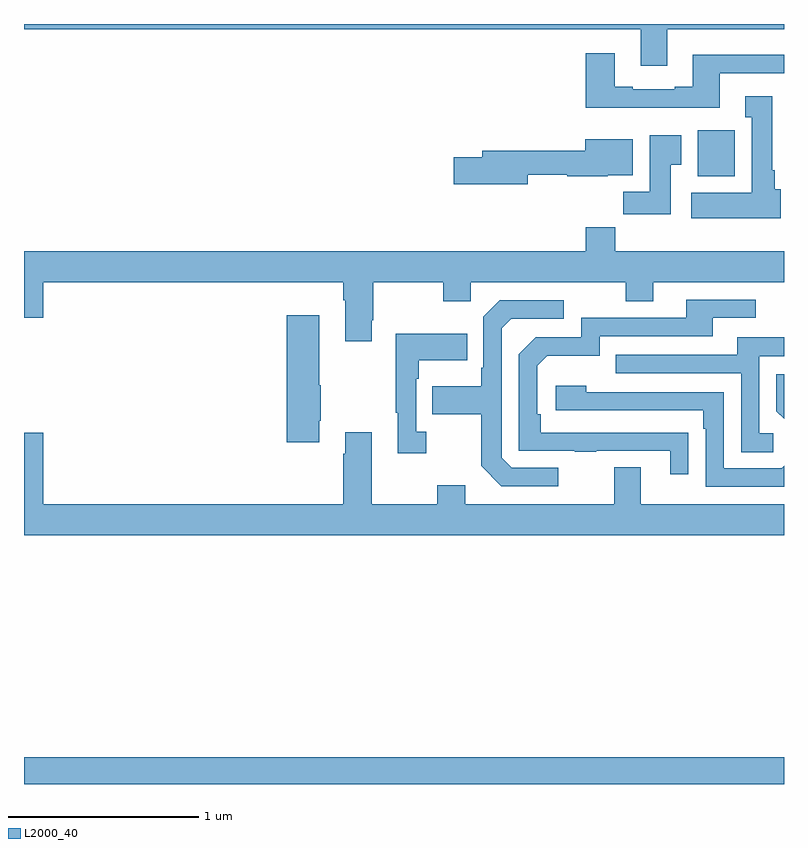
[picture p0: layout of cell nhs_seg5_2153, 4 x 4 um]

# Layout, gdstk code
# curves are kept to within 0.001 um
import gdstk
lib = gdstk.Library(unit=1e-6, precision=1e-09)
def R(c, l, rs):  # rectangles x0, y0, x1, y1
    for r in rs: c.add(gdstk.rectangle(r[:2], r[2:], *l))
def P(c, l, *ps):  # polygons
    for p in ps: c.add(gdstk.Polygon(p, *l))
L2000_40 = (2000, 40)

nhs_seg5_2153 = lib.new_cell('nhs_seg5_2153')
R(nhs_seg5_2153, L2000_40, [(237,840.799,241,840.94), (240.545,843.998,240.742,844.24)])
P(nhs_seg5_2153, L2000_40, [(240.385,844.772),(241,844.772),(241,844.799),(237,844.799),(237,844.772),(240.245,844.772),(240.245,844.578),(240.385,844.578)],
  [(240.661,844.539),(241,844.539),(241,844.636),(240.521,844.636),(240.521,844.468),(240.425,844.468),(240.425,844.455),(240.205,844.455),(240.205,844.468),(240.109,844.468),(240.109,844.645),(239.957,844.645),(239.957,844.358),(240.661,844.358)],
  [(240.982,843.93),(240.952,843.93),(240.952,844.03),(240.937,844.03),(240.937,844.42),(240.797,844.42),(240.797,844.307),(240.83,844.307),(240.83,843.91),(240.513,843.91),(240.513,843.776),(240.982,843.776)],
  [(240.403,844.057),(240.46,844.057),(240.46,844.213),(240.293,844.213),(240.293,843.916),(240.154,843.916),(240.154,843.798),(240.403,843.798)],
  [(239.65,844.005),(239.858,844.005),(239.858,843.998),(240.072,843.998),(240.072,844.004),(240.205,844.004),(240.205,844.192),(239.954,844.192),(239.954,844.133),(239.411,844.133),(239.411,844.097),(239.262,844.097),(239.262,843.955),(239.65,843.955)],
  [(238.831,843.241),(238.839,843.241),(238.839,843.44),(239.206,843.44),(239.206,843.341),(239.352,843.341),(239.352,843.44),(240.166,843.44),(240.166,843.341),(240.313,843.341),(240.313,843.44),(241,843.44),(241,843.604),(240.113,843.604),(240.113,843.728),(239.957,843.728),(239.957,843.604),(237,843.604),(237,843.252),(237.1,843.252),(237.1,843.44),(238.679,843.44),(238.679,843.344),(238.691,843.344),(238.691,843.129),(238.831,843.129)],
  [(240.497,842.648),(239.72,842.649),(239.72,842.746),(239.7,842.746),(239.7,843),(239.753,843.053),(240.03,843.053),(240.03,843.156),(240.625,843.156),(240.625,843.252),(240.85,843.252),(240.85,843.348),(240.485,843.348),(240.485,843.252),(239.934,843.252),(239.934,843.15),(239.694,843.15),(239.604,843.06),(239.604,842.553),(239.899,842.553),(239.899,842.548),(240.011,842.548),(240.011,842.553),(240.401,842.553),(240.401,842.43),(240.497,842.43)],
  [(239.812,842.463),(239.568,842.463),(239.514,842.517),(239.514,843.198),(239.565,843.249),(239.842,843.249),(239.842,843.345),(239.505,843.345),(239.418,843.258),(239.418,842.989),(239.406,842.989),(239.406,842.893),(239.149,842.893),(239.149,842.746),(239.406,842.746),(239.406,842.473),(239.511,842.367),(239.812,842.367)],
  [(238.555,842.71),(238.563,842.71),(238.563,842.899),(238.555,842.899),(238.555,843.265),(238.382,843.265),(238.382,842.598),(238.555,842.598)],
  [(239.116,842.654),(239.064,842.654),(239.064,842.933),(239.077,842.933),(239.077,843.029),(239.333,843.029),(239.333,843.169),(238.956,843.169),(238.956,842.753),(238.967,842.753),(238.967,842.541),(239.116,842.541)],
  [(240.943,842.646),(240.87,842.646),(240.87,843.051),(241,843.051),(241,843.151),(240.755,843.151),(240.755,843.057),(240.115,843.057),(240.115,842.961),(240.774,842.961),(240.774,842.545),(240.943,842.545)],
  [(241,842.956),(240.96,842.956),(240.96,842.762),(241,842.722)],
  [(241,842.473),(240.987,842.46),(240.684,842.46),(240.684,842.862),(239.96,842.862),(239.96,842.896),(239.799,842.896),(239.799,842.766),(240.575,842.766),(240.575,842.669),(240.588,842.669),(240.588,842.364),(241,842.364)],
  [(238.691,842.65),(238.691,842.537),(238.679,842.537),(238.679,842.272),(237.1,842.272),(237.1,842.647),(237,842.647),(237,842.108),(241,842.108),(241,842.272),(240.247,842.272),(240.247,842.467),(240.107,842.467),(240.107,842.272),(239.323,842.272),(239.323,842.371),(239.176,842.371),(239.176,842.272),(238.831,842.272),(238.831,842.65)])

lib.write_gds('nhs_seg5_2153.gds')
